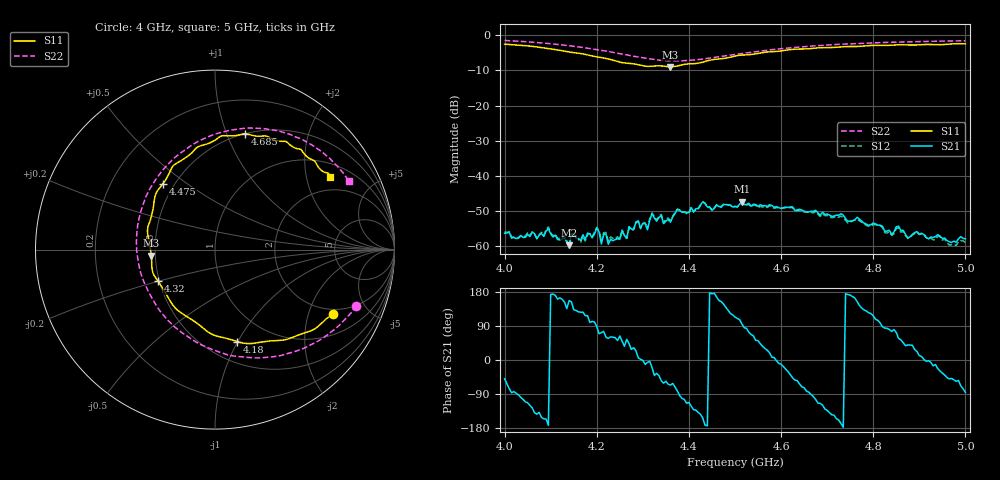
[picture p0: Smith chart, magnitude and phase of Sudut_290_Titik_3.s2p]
# Hz S RI R 50
! CMT, C1220, 16058040, 17.2.0/1
! Date: 15/08/2018 12:41:38
! Data: Format (Calibration Info)
! Freq  S11: Re/Im (F2)  S21: Re/Im (F2)  S12: Re/Im (F2)  S22: Re/Im (F2)
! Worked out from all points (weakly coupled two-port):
!   201 points, 4 GHz to 5 GHz, reference 50 ohm
!   highest |S21| = -47.42 dB at 4.515 GHz (marker M1); lowest = -59.8 dB at 4.14 GHz (marker M2)
!   lowest |S11| = -9.0 dB at 4.36 GHz (marker M3), VSWR 2.11, Z = 23.8 - j1.82 ohm
!   |S11| at or under -10 dB: nowhere
!   |S22| runs from -7.3 to -1.4 dB; largest |S21 - S12| = 0.00022
!   S11 on the Smith chart (normalised r, x): 4 GHz: 1.78, -2.93; 4.18 GHz: 0.70, -1.00; 4.32 GHz: 0.49, -0.20; 4.475 GHz: 0.43, +0.41; 4.685 GHz: 0.50, +1.16; 5 GHz: 1.46, +2.76
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4e9  0.6593 -0.3587  0.000979 -0.00115  0.00109 -0.00117  0.7872 -0.3122
4.07e9  0.5047 -0.4619  -0.001 -0.00076  -0.000945 -0.000856  0.6418 -0.4629
4.095e9  0.4245 -0.492  -0.00174 -0.000229  -0.00184 -0.000223  0.573 -0.5104
4.14e9  0.2694 -0.5137  -0.000941 0.000403  -0.000904 0.000401  0.4211 -0.5749
4.145e9  0.2493 -0.5165  -0.00131 0.000653  -0.00133 0.000619  0.4017 -0.5807
4.17e9  0.1573 -0.5208  -0.000849 0.00116  -0.000801 0.0011  0.3067 -0.5988
4.18e9  0.1239 -0.5125  -0.000689 0.00135  -0.000729 0.00126  0.2648 -0.6018
4.2e9  0.0506 -0.4912  4.62e-05 0.00178  -3.42e-05 0.00183  0.1807 -0.6005
4.225e9  -0.0362 -0.4606  0.000573 0.000882  0.000593 0.00101  0.0695 -0.5858
4.29e9  -0.2455 -0.2925  0.00226 0.000231  0.00222 0.000205  -0.2042 -0.4473
4.31e9  -0.2919 -0.2138  0.00168 -0.000185  0.00174 -9.23e-05  -0.2762 -0.3782
4.32e9  -0.3182 -0.1764  0.0027 -0.000979  0.00278 -0.000945  -0.3088 -0.3388
4.335e9  -0.3468 -0.1268  0.00191 -0.00168  0.002 -0.00172  -0.3488 -0.2741
4.36e9  -0.3546 -0.0335  0.000875 -0.002  0.000851 -0.00213  -0.4047 -0.1589
4.375e9  -0.3649 0.0365  0.000477 -0.00326  0.000327 -0.00333  -0.4249 -0.084
4.475e9  -0.2914 0.3662  -0.00329 0.00206  -0.00327 0.00213  -0.3405 0.3738
4.5e9  -0.2463 0.4443  -0.00146 0.00336  -0.00143 0.00334  -0.2798 0.456
4.515e9  -0.2255 0.4734  -0.000369 0.00424  -0.000234 0.00422  -0.2386 0.4991
4.67e9  0.1399 0.6397  -0.00034 -0.00309  -0.000434 -0.00291  0.203 0.6773
4.685e9  0.1666 0.6457  -0.00114 -0.0025  -0.00114 -0.00236  0.2427 0.6756
4.835e9  0.4475 0.5653  0.000278 0.00164  0.000224 0.00157  0.5491 0.5767
5e9  0.6404 0.4041  9.93e-05 -0.00126  0.000153 -0.0011  0.7453 0.3838
